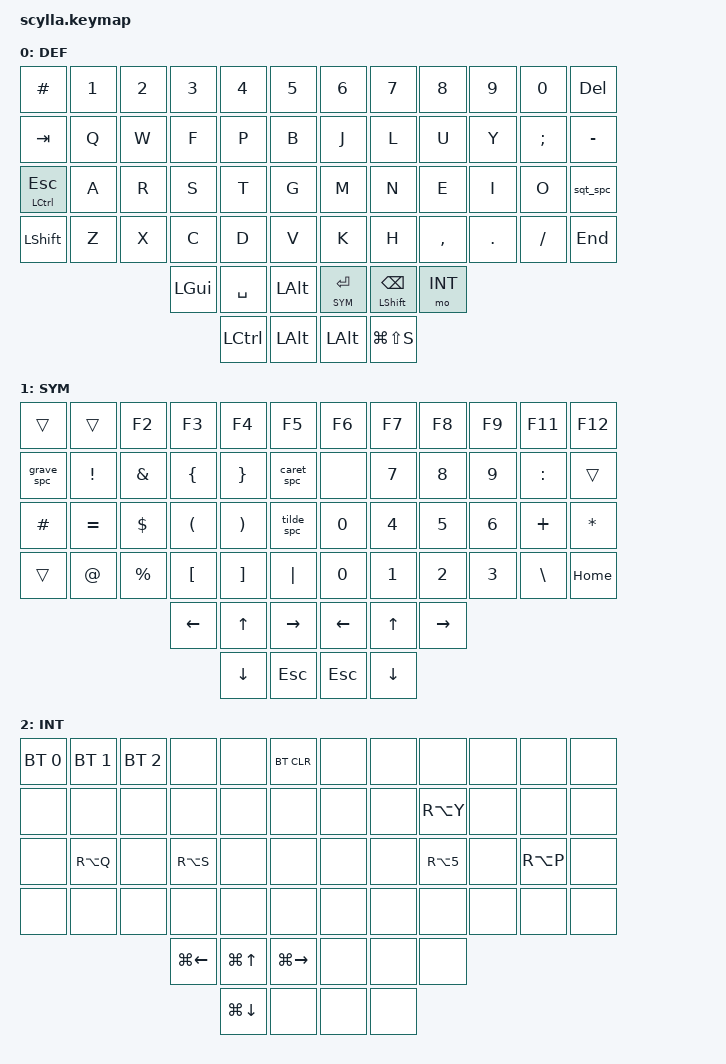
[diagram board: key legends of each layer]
#include <behaviors.dtsi>
#include <dt-bindings/zmk/keys.h>
#include <dt-bindings/zmk/bt.h>

#define DEF 0
#define SYM 1
#define INT 2


&led_strip {
    chain-length = <29>;
    // chain-length = <35>; // Uncomment if using both per-key and underglow LEDs
    // chain-length = <29>; // Uncomment if using only per-key LEDs.
};

&mt { 
  tapping-term-ms = <350>;
  flavor = "tap-preferred";
  require-prior-idle-ms = <100>;
  hold-trigger-on-release;

};


/ {

     macros {
      sqt_spc: sqt_spc {
        label = "ZM_sqt_spc";
        compatible = "zmk,behavior-macro";
        #binding-cells = <0>;
        tap-ms = <30>;
        bindings = <&kp SQT &kp SPACE>;
      };
      grave_spc: grave_spc {
        label = "ZM_grave_spc";
        compatible = "zmk,behavior-macro";
        #binding-cells = <0>;
        tap-ms = <30>;
        bindings = <&kp GRAVE &kp SPACE>;
      };
      tilde_spc: tilde_spc {
        label = "ZM_tilde_spc";
        compatible = "zmk,behavior-macro";
        #binding-cells = <0>;
        tap-ms = <30>;
        bindings = <&kp TILDE &kp SPACE>;
      };
      caret_spc: caret_spc {
        label = "ZM_tilde_spc";
        compatible = "zmk,behavior-macro";
        #binding-cells = <0>;
        tap-ms = <30>;
        bindings = <&kp CARET &kp SPACE>;
      };
    };
};

/ {
  keymap {
    compatible = "zmk,keymap";

DEF {
bindings = <
&kp HASH       &kp N1 &kp N2 &kp N3   &kp N4    &kp N5         &kp N6        &kp N7         &kp N8    &kp N9  &kp N0    &kp DEL
&kp TAB        &kp Q  &kp W  &kp F    &kp P     &kp B          &kp J         &kp L          &kp U     &kp Y   &kp SEMI  &kp MINUS
&mt LCTL ESC   &kp A  &kp R  &kp S    &kp T     &kp G          &kp M         &kp N          &kp E     &kp I   &kp O     &sqt_spc
&kp LSHIFT     &kp Z  &kp X  &kp C    &kp D     &kp V          &kp K         &kp H          &kp COMMA &kp DOT &kp SLASH &kp END
                             &kp LGUI &kp SPACE &kp LALT       &lt SYM ENTER &mt LSHFT BSPC &mo INT
                                      &kp LCTRL &kp LALT       &kp LALT      &kp LG(LS(S))
>;
};
SYM {
bindings = <
&trans     &trans    &kp F2    &kp F3   &kp F4   &kp F5       &kp F6   &kp F7    &kp F8    &kp F9 &kp F11   &kp F12 
&grave_spc &kp EXCL  &kp AMPS  &kp LBRC &kp RBRC &caret_spc   &none    &kp N7    &kp N8    &kp N9 &kp COLON &trans
&kp HASH   &kp EQUAL &kp DLLR  &kp LPAR &kp RPAR &tilde_spc   &kp N0   &kp N4    &kp N5    &kp N6 &kp PLUS  &kp STAR
&trans     &kp AT    &kp PRCNT &kp LBKT &kp RBKT &kp PIPE     &kp N0   &kp N1    &kp N2    &kp N3 &kp BSLH  &kp HOME
                               &kp LEFT &kp UP   &kp RIGHT    &kp LEFT &kp UP    &kp RIGHT
                                        &kp DOWN  &kp ESC     &kp ESC  &kp DOWN
>;
};
INT {
bindings = <
&bt BT_SEL 0 &bt BT_SEL 1 &bt BT_SEL 2 &none        &none        &bt BT_CLR        &none      &none   &none        &none &none      &none 
&none        &none        &none        &none        &none        &none             &none      &none   &kp RA(Y)    &none &none      &none
&none        &kp RA(Q)    &none        &kp RA(S)    &none        &none             &none      &none   &kp RA(5)    &none &kp RA(P)  &none
&none        &none        &none        &none        &none        &none             &none      &none  &none        &none &none      &none
                                       &kp LG(LEFT) &kp LG(UP)   &kp LG(RIGHT)     &none      &none   &none
                                                    &kp LG(DOWN) &none             &none      &none
>;
};
};
};
